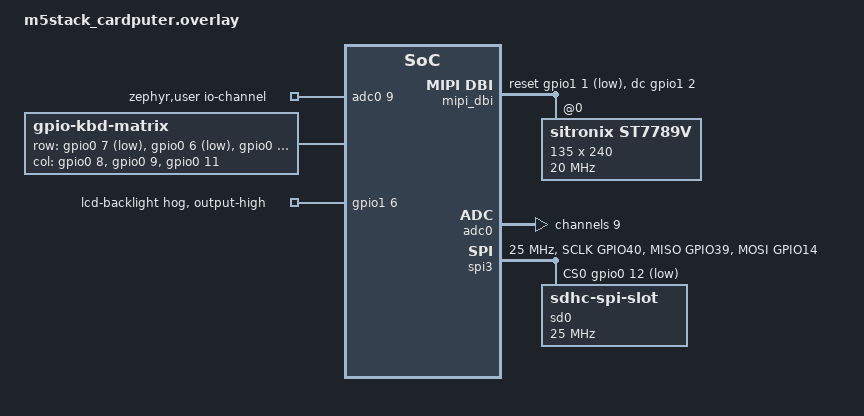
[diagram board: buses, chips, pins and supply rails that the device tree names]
/*
 * Copyright (c) 2025 Linaro Limited
 *
 * SPDX-License-Identifier: Apache-2.0
 */

#include <zephyr/dt-bindings/display/panel.h>
#include <zephyr/dt-bindings/input/input-event-codes.h>
#include <zephyr/dt-bindings/input/keymap.h>

/ {
	zephyr,user {
		io-channels = <&adc0 9>;
	};

	aliases {
		/delete-property/ led-strip;
	};

	chosen {
		zephyr,display = &st7789v;
	};

	kbd: kbd-matrix {
		compatible = "gpio-kbd-matrix";
		row-gpios = <&gpio0 7 (GPIO_PULL_UP | GPIO_ACTIVE_LOW)>,
			    <&gpio0 6 (GPIO_PULL_UP | GPIO_ACTIVE_LOW)>,
			    <&gpio0 5 (GPIO_PULL_UP | GPIO_ACTIVE_LOW)>,
			    <&gpio0 4 (GPIO_PULL_UP | GPIO_ACTIVE_LOW)>,
			    <&gpio0 3 (GPIO_PULL_UP | GPIO_ACTIVE_LOW)>,
			    <&gpio0 15 (GPIO_PULL_UP | GPIO_ACTIVE_LOW)>,
			    <&gpio0 13 (GPIO_PULL_UP | GPIO_ACTIVE_LOW)>;
		col-gpios = <&gpio0 8 GPIO_ACTIVE_HIGH>,
			    <&gpio0 9 GPIO_ACTIVE_HIGH>,
			    <&gpio0 11 GPIO_ACTIVE_HIGH>;
		col-drive-inactive;
		settle-time-us = <100>;
		no-ghostkey-check;
		idle-mode = "poll";
		col-decode = <3 8>;

		keymap {
			compatible = "input-keymap";
			row-size = <7>;
			col-size = <8>;
			keymap = <MATRIX_KEY(0, 0, INPUT_KEY_SPACE)
				  MATRIX_KEY(0, 1, INPUT_KEY_ENTER)
				  MATRIX_KEY(0, 2, INPUT_KEY_SLASH)
				  MATRIX_KEY(0, 3, INPUT_KEY_BACKSPACE)
				  MATRIX_KEY(0, 4, INPUT_KEY_BACKSLASH)
				  MATRIX_KEY(0, 5, INPUT_KEY_APOSTROPHE)
				  MATRIX_KEY(0, 6, INPUT_KEY_RIGHTBRACE)
				  MATRIX_KEY(0, 7, INPUT_KEY_EQUAL)
				  MATRIX_KEY(1, 0, INPUT_KEY_DOT)
				  MATRIX_KEY(1, 1, INPUT_KEY_SEMICOLON)
				  MATRIX_KEY(1, 2, INPUT_KEY_LEFTBRACE)
				  MATRIX_KEY(1, 3, INPUT_KEY_MINUS)
				  MATRIX_KEY(1, 4, INPUT_KEY_COMMA)
				  MATRIX_KEY(1, 5, INPUT_KEY_L)
				  MATRIX_KEY(1, 6, INPUT_KEY_P)
				  MATRIX_KEY(1, 7, INPUT_KEY_0)
				  MATRIX_KEY(2, 0, INPUT_KEY_M)
				  MATRIX_KEY(2, 1, INPUT_KEY_K)
				  MATRIX_KEY(2, 2, INPUT_KEY_O)
				  MATRIX_KEY(2, 3, INPUT_KEY_9)
				  MATRIX_KEY(2, 4, INPUT_KEY_N)
				  MATRIX_KEY(2, 5, INPUT_KEY_J)
				  MATRIX_KEY(2, 6, INPUT_KEY_I)
				  MATRIX_KEY(2, 7, INPUT_KEY_8)
				  MATRIX_KEY(3, 0, INPUT_KEY_B)
				  MATRIX_KEY(3, 1, INPUT_KEY_H)
				  MATRIX_KEY(3, 2, INPUT_KEY_U)
				  MATRIX_KEY(3, 3, INPUT_KEY_7)
				  MATRIX_KEY(3, 4, INPUT_KEY_V)
				  MATRIX_KEY(3, 5, INPUT_KEY_G)
				  MATRIX_KEY(3, 6, INPUT_KEY_Y)
				  MATRIX_KEY(3, 7, INPUT_KEY_6)
				  MATRIX_KEY(4, 0, INPUT_KEY_C)
				  MATRIX_KEY(4, 1, INPUT_KEY_F)
				  MATRIX_KEY(4, 2, INPUT_KEY_T)
				  MATRIX_KEY(4, 3, INPUT_KEY_5)
				  MATRIX_KEY(4, 4, INPUT_KEY_X)
				  MATRIX_KEY(4, 5, INPUT_KEY_D)
				  MATRIX_KEY(4, 6, INPUT_KEY_R)
				  MATRIX_KEY(4, 7, INPUT_KEY_4)
				  MATRIX_KEY(5, 0, INPUT_KEY_Z)
				  MATRIX_KEY(5, 1, INPUT_KEY_S)
				  MATRIX_KEY(5, 2, INPUT_KEY_E)
				  MATRIX_KEY(5, 3, INPUT_KEY_3)
				  MATRIX_KEY(5, 4, INPUT_KEY_LEFTALT)
				  MATRIX_KEY(5, 5, INPUT_KEY_A)
				  MATRIX_KEY(5, 6, INPUT_KEY_W)
				  MATRIX_KEY(5, 7, INPUT_KEY_2)
				  MATRIX_KEY(6, 0, INPUT_KEY_LEFTMETA)
				  MATRIX_KEY(6, 1, INPUT_KEY_CAPSLOCK)
				  MATRIX_KEY(6, 2, INPUT_KEY_Q)
				  MATRIX_KEY(6, 3, INPUT_KEY_1)
				  MATRIX_KEY(6, 4, INPUT_KEY_LEFTCTRL)
				  MATRIX_KEY(6, 5, INPUT_KEY_COMPOSE)
				  MATRIX_KEY(6, 6, INPUT_KEY_TAB)
				  MATRIX_KEY(6, 7, INPUT_KEY_GRAVE)>;
		};
	};

	mipi_dbi {
		compatible = "zephyr,mipi-dbi-spi";
		spi-dev = <&spi2>;
		dc-gpios = <&gpio1 2 GPIO_ACTIVE_HIGH>;
		reset-gpios = <&gpio1 1 GPIO_ACTIVE_LOW>;
		write-only;
		#address-cells = <1>;
		#size-cells = <0>;

		st7789v: st7789v@0 {
			compatible = "sitronix,st7789v";
			reg = <0>;
			mipi-max-frequency = <20000000>;

			width = <135>;
			height = <240>;
			x-offset = <52>;
			y-offset = <40>;

			vcom = <0x28>;
			gctrl = <0x35>;
			vrhs = <0x10>;
			vdvs = <0x20>;
			mdac = <0x00>;
			gamma = <0x01>;
			pixel-format = <PANEL_PIXEL_FORMAT_RGB_565>;
			lcm = <0x2c>;
			porch-param = [0c 0c 00 33 33];
			cmd2en-param = [5a 69 02 00];
			pwctrl1-param = [a4 a1];
			pvgam-param = [d0 00 02 07 0a 28 32 44 42 06 0e 12 14 17];
			nvgam-param = [d0 00 02 07 0a 28 31 54 47 0e 1c 17 1b 1e];
			ram-param = [00 f0];
			rgb-param = [40 02 14];
			mipi-mode = "MIPI_DBI_MODE_SPI_4WIRE";
		};
	};
};

/delete-node/ &status_rgb_led;

&pinctrl {
	spim2_default: spim2_default {
		group1 {
			pinmux = <SPIM2_SCLK_GPIO36>,
				 <SPIM2_CSEL_GPIO37>;
		};

		group2 {
			pinmux = <SPIM2_MOSI_GPIO35>;
			output-low;
		};
	};

	spim3_default: spim3_default {
		group1 {
			pinmux = <SPIM3_SCLK_GPIO40>,
				 <SPIM3_MISO_GPIO39>;
		};

		group2 {
			pinmux = <SPIM3_MOSI_GPIO14>;
			output-low;
		};
	};

	i2c1_default: i2c1_default {
		group1 {
			pinmux = <I2C1_SDA_GPIO1>,
				 <I2C1_SCL_GPIO2>;
			bias-pull-up;
			drive-open-drain;
			output-high;
		};
	};
};

&adc0 {
	status = "okay";
	#address-cells = <1>;
	#size-cells = <0>;

	channel@9 {
		reg = <9>;
		zephyr,gain = "ADC_GAIN_1_4";
		zephyr,reference = "ADC_REF_INTERNAL";
		zephyr,acquisition-time = <ADC_ACQ_TIME_DEFAULT>;
		zephyr,resolution = <12>;
	};
};

&spi3 {
	#address-cells = <1>;
	#size-cells = <0>;
	status = "okay";
	pinctrl-0 = <&spim3_default>;
	pinctrl-names = "default";
	clock-frequency = <25000000>;
	cs-gpios = <&gpio0 12 GPIO_ACTIVE_LOW>; /* TF-CARD */

	sd0: sd@0 {
		compatible = "zephyr,sdhc-spi-slot";
		reg = <0>;
		status = "okay";
		spi-max-frequency = <25000000>;

		mmc {
			compatible = "zephyr,sdmmc-disk";
			disk-name = "SD";
			status = "okay";
		};
	};
};

&gpio1 {
	status = "okay";

	lcd-backlight {
		gpio-hog;
		gpios = <6 GPIO_ACTIVE_HIGH>;
		output-high;
	};
};
